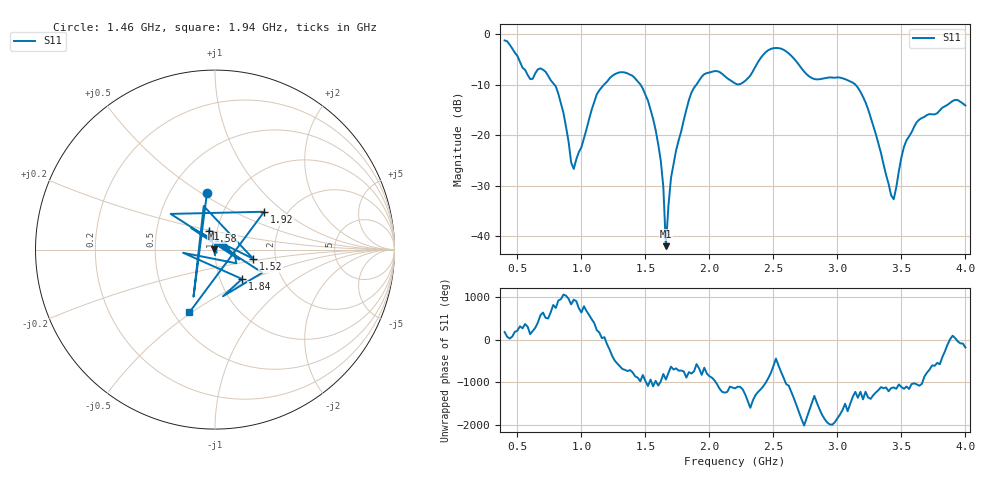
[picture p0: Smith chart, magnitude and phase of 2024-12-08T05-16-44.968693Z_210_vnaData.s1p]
!Created with skrf (http://scikit-rf.org).
# Hz S RI R 50.0
!freq ReS11 ImS11
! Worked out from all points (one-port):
!   181 points, 400 MHz to 4 GHz, reference 50 ohm
!   lowest |S11| = -42.0 dB at 1.66 GHz (marker M1), VSWR 1.02, Z = 49.4 + j0.523 ohm
!   |S11| at or under -10 dB: 788.2 MHz to 1.178 GHz (389.4 MHz wide, 39.6 % of centre); 1.461 GHz to 1.899 GHz (438.1 MHz wide, 26.1 % of centre); 3.14 GHz to end of sweep
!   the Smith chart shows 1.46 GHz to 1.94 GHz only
!   S11 on the Smith chart (normalised r, x): 1.46 GHz: 0.75, +0.53; 1.52 GHz: 1.53, -0.16; 1.58 GHz: 0.91, +0.20; 1.84 GHz: 1.27, -0.44; 1.92 GHz: 1.54, +0.74; 1.94 GHz: 0.60, -0.49
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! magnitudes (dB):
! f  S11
! 400 MHz  -1.3
! 600 MHz  -8.9
! 720 MHz  -7.5
! 860 MHz  -15.6
! 940 MHz  -26.7
! 1.12 GHz  -11.9
! 1.3 GHz  -7.6
! 1.46 GHz  -9.9
! 1.52 GHz  -13.2
! 1.58 GHz  -19.0
! 1.64 GHz  -30.2
! 1.66 GHz  -42.0
! 1.7 GHz  -28.4
! 1.76 GHz  -21.0
! 1.84 GHz  -13.1
! 1.92 GHz  -9.2
! 1.94 GHz  -8.4
! 2.2 GHz  -9.8
! 2.48 GHz  -3.0
! 2.66 GHz  -4.9
! 2.82 GHz  -8.9
! 3.1 GHz  -9.4
! 3.24 GHz  -14.9
! 3.44 GHz  -32.7
! 3.52 GHz  -22.3
! 3.56 GHz  -20.3
! 3.7 GHz  -16.0
! 4 GHz  -14.1
